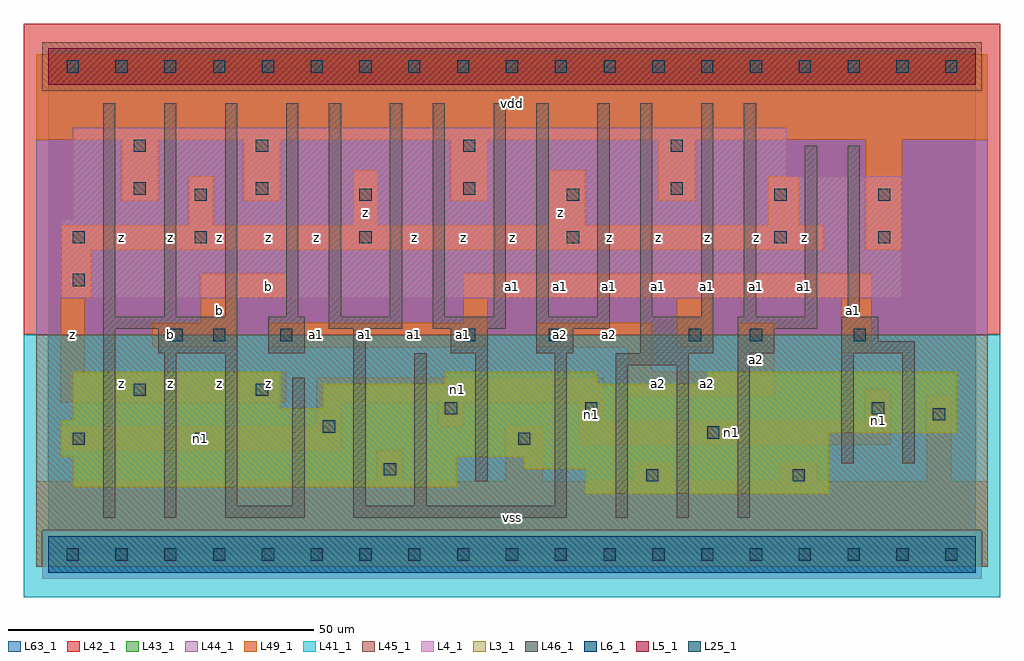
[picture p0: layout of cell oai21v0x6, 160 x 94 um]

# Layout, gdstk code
import gdstk
lib = gdstk.Library(unit=1e-6, precision=1e-09)
def R(c, l, rs):  # rectangles x0, y0, x1, y1
    for r in rs: c.add(gdstk.rectangle(r[:2], r[2:], *l))
def A(c, l, x, y, w, h, nx, ny, dx, dy):  # array of equal rectangles
    R(c, l, [(x+i*dx, y+j*dy, x+i*dx+w, y+j*dy+h) for i in range(nx) for j in range(ny)])
L3_1 = (3, 1)
L4_1 = (4, 1)
L5_1 = (5, 1)
L6_1 = (6, 1)
L25_1 = (25, 1)
L41_1 = (41, 1)
L42_1 = (42, 1)
L43_1 = (43, 1)
L44_1 = (44, 1)
L45_1 = (45, 1)
L46_1 = (46, 1)
L49_1 = (49, 1)
L63_1 = (63, 1)

oai21v0x6 = lib.new_cell('oai21v0x6')
R(oai21v0x6, L3_1, [(88,10,128,14), (4,11,67,16), (78,14,128,16), (2,16,128,20), (2,20,149,22), (4,22,149,24), (4,24,38,30), (45,24,149,28), (65,28,90,30), (108,28,149,30)])
R(oai21v0x6, L4_1, [(2,42,140,55), (4,55,140,62), (4,62,121,70)])
R(oai21v0x6, L5_1, [(0,77,152,83)])
R(oai21v0x6, L6_1, [(0,-3,152,3), (0,-3,152,3)])
A(oai21v0x6, L25_1, 3, -1, 2, 2, 19, 2, 8, 80)
A(oai21v0x6, L25_1, 51, 51, 2, 2, 3, 2, 34, 7)
A(oai21v0x6, L25_1, 34, 59, 2, 2, 3, 2, 34, 7)
R(oai21v0x6, L25_1, [(98,12,100,14), (122,12,124,14), (55,13,57,15), (4,18,6,20), (24,18,26,20), (77,18,79,20), (108,19,110,21), (45,20,47,22), (145,22,147,24), (65,23,67,25), (88,23,90,25), (135,23,137,25), (14,26,16,28), (34,26,36,28), (20,35,22,37), (27,35,29,37), (38,35,40,37), (68,35,70,37), (82,35,84,37), (105,35,107,37), (115,35,117,37), (132,35,134,37), (4,44,6,46), (4,51,6,53), (24,51,26,53), (136,51,138,53), (24,58,26,60), (136,58,138,60), (14,59,16,61), (14,66,16,68)])
R(oai21v0x6, L41_1, [(-4,-7,156,36)])
R(oai21v0x6, L42_1, [(-4,36,156,87)])
R(oai21v0x6, L43_1, [(0,-3,152,3), (88,10,128,14), (4,11,67,16), (78,14,128,16), (2,16,128,20), (2,20,149,22), (4,22,149,24), (4,24,38,30), (45,24,149,28), (65,28,90,30), (108,28,149,30), (2,42,140,55), (4,55,140,62), (4,62,121,70), (0,77,152,83)])
R(oai21v0x6, L44_1, [(-1,-4,153,4), (-2,36,154,76), (-2,76,-1,82), (153,76,154,82)])
R(oai21v0x6, L45_1, [(-2,-2,-1,4), (153,-2,154,4), (-2,4,154,36), (-1,76,153,84)])
A(oai21v0x6, L46_1, 46, 37, 12, 2, 3, 1, 17, 0)
A(oai21v0x6, L46_1, 9, 39, 2, 35, 4, 1, 10, 0)
R(oai21v0x6, L46_1, [(9,6,11,37), (19,6,21,33), (29,6,42,8), (50,6,85,8), (93,6,95,31), (103,6,105,31), (113,6,115,33), (29,8,31,33), (40,8,42,29), (50,8,52,37), (60,8,62,33), (83,8,85,33), (70,12,72,33), (130,15,132,33), (140,15,142,33), (93,31,105,33), (18,33,31,37), (36,33,42,39), (66,33,72,37), (80,33,86,37), (97,33,109,39), (113,33,119,37), (130,33,142,35), (130,35,136,39), (9,37,31,39), (113,37,126,39), (46,39,48,74), (56,39,58,74), (63,39,65,74), (73,39,75,74), (80,39,82,74), (90,39,92,74), (97,39,99,74), (107,39,109,74), (114,39,116,74), (124,39,126,67), (131,39,133,67)])
A(oai21v0x6, L49_1, 32, 58, 6, 10, 3, 1, 34, 0)
R(oai21v0x6, L49_1, [(-2,-2,154,12), (54,12,58,17), (75,12,81,21), (96,12,102,15), (120,12,126,15), (144,12,148,26), (2,17,48,21), (87,18,138,22), (44,21,48,25), (64,21,68,25), (87,22,91,25), (134,22,138,27), (2,25,39,30), (44,25,91,29), (95,26,119,30), (2,30,6,42), (95,30,99,34), (113,30,119,38), (130,33,135,42), (17,34,31,38), (36,34,72,38), (80,34,99,38), (103,34,109,42), (25,38,31,42), (68,38,72,42), (2,42,7,50), (25,42,39,46), (68,42,135,46), (2,50,127,54), (134,50,140,68), (23,54,27,62), (50,54,54,63), (82,54,88,63), (118,54,123,62), (12,58,18,68), (-2,68,154,82)])
R(oai21v0x6, L63_1, [(0,0,152,80)])
oai21v0x6.add(gdstk.Label('z', (12,28), layer=49, texttype=1))
oai21v0x6.add(gdstk.Label('z', (20,28), layer=49, texttype=1))
oai21v0x6.add(gdstk.Label('b', (20,36), layer=49, texttype=1))
oai21v0x6.add(gdstk.Label('z', (4,36), layer=49, texttype=1))
oai21v0x6.add(gdstk.Label('z', (12,52), layer=49, texttype=1))
oai21v0x6.add(gdstk.Label('z', (20,52), layer=49, texttype=1))
oai21v0x6.add(gdstk.Label('n1', (25,19), layer=49, texttype=1))
oai21v0x6.add(gdstk.Label('z', (28,28), layer=49, texttype=1))
oai21v0x6.add(gdstk.Label('z', (36,28), layer=49, texttype=1))
oai21v0x6.add(gdstk.Label('a1', (44,36), layer=49, texttype=1))
oai21v0x6.add(gdstk.Label('b', (28,40), layer=49, texttype=1))
oai21v0x6.add(gdstk.Label('b', (36,44), layer=49, texttype=1))
oai21v0x6.add(gdstk.Label('z', (28,52), layer=49, texttype=1))
oai21v0x6.add(gdstk.Label('z', (36,52), layer=49, texttype=1))
oai21v0x6.add(gdstk.Label('z', (44,52), layer=49, texttype=1))
oai21v0x6.add(gdstk.Label('a1', (52,36), layer=49, texttype=1))
oai21v0x6.add(gdstk.Label('a1', (68,36), layer=49, texttype=1))
oai21v0x6.add(gdstk.Label('a1', (60,36), layer=49, texttype=1))
oai21v0x6.add(gdstk.Label('z', (60,52), layer=49, texttype=1))
oai21v0x6.add(gdstk.Label('z', (68,52), layer=49, texttype=1))
oai21v0x6.add(gdstk.Label('z', (52,56), layer=49, texttype=1))
oai21v0x6.add(gdstk.Label('vss', (76,6), layer=49, texttype=1))
oai21v0x6.add(gdstk.Label('a2', (100,28), layer=49, texttype=1))
oai21v0x6.add(gdstk.Label('n1', (89,23), layer=49, texttype=1))
oai21v0x6.add(gdstk.Label('n1', (67,27), layer=49, texttype=1))
oai21v0x6.add(gdstk.Label('a2', (92,36), layer=49, texttype=1))
oai21v0x6.add(gdstk.Label('a2', (84,36), layer=49, texttype=1))
oai21v0x6.add(gdstk.Label('a1', (84,44), layer=49, texttype=1))
oai21v0x6.add(gdstk.Label('a1', (92,44), layer=49, texttype=1))
oai21v0x6.add(gdstk.Label('a1', (100,44), layer=49, texttype=1))
oai21v0x6.add(gdstk.Label('a1', (76,44), layer=49, texttype=1))
oai21v0x6.add(gdstk.Label('z', (76,52), layer=49, texttype=1))
oai21v0x6.add(gdstk.Label('z', (92,52), layer=49, texttype=1))
oai21v0x6.add(gdstk.Label('z', (100,52), layer=49, texttype=1))
oai21v0x6.add(gdstk.Label('z', (84,56), layer=49, texttype=1))
oai21v0x6.add(gdstk.Label('vdd', (76,74), layer=49, texttype=1))
oai21v0x6.add(gdstk.Label('a2', (108,28), layer=49, texttype=1))
oai21v0x6.add(gdstk.Label('a2', (116,32), layer=49, texttype=1))
oai21v0x6.add(gdstk.Label('a1', (108,44), layer=49, texttype=1))
oai21v0x6.add(gdstk.Label('a1', (116,44), layer=49, texttype=1))
oai21v0x6.add(gdstk.Label('a1', (124,44), layer=49, texttype=1))
oai21v0x6.add(gdstk.Label('z', (124,52), layer=49, texttype=1))
oai21v0x6.add(gdstk.Label('z', (108,52), layer=49, texttype=1))
oai21v0x6.add(gdstk.Label('z', (116,52), layer=49, texttype=1))
oai21v0x6.add(gdstk.Label('n1', (112,20), layer=49, texttype=1))
oai21v0x6.add(gdstk.Label('n1', (136,22), layer=49, texttype=1))
oai21v0x6.add(gdstk.Label('a1', (132,40), layer=49, texttype=1))

lib.write_gds('oai21v0x6.gds')
